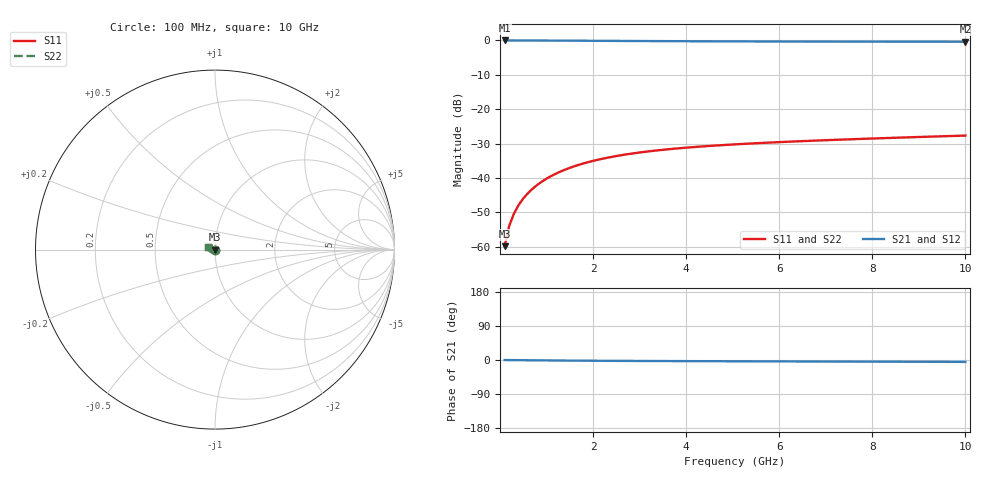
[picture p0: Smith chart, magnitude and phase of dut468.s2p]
! Touchstone file exported from HFSS 2024.1.0
!  File:  C:/UserFiles/LocalFiles/RDL_TSV_Batchsim/temp_TSV1_468_1779698264.aedt
!  Generated:  04:42:35 PM May 25, 2026
!  Design:  TSV1
!  Project:  temp_TSV1_468_1779698264
!  Setup:  Setup1
!  Solution:  Sweep
! Variables:
!  dtsv = 9.33um
!  hbump = 3um
!  htsv = 75.04um
!  lrdl = 252.1521522um
!  p = 40
!  p1 = 56.67um
!  t = 500um
!  trdl = 3um
!  wrdl = 24.89489489um
# GHz S MA R 50.000000
! Terminal data exported
! Port[1] = TSV22_T1
! Port[2] = TSV22_T2
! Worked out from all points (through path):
!   100 points, 100 MHz to 10 GHz, reference 50 ohm
!   highest |S21| = 0.00 dB at 100 MHz (marker M1); lowest = -0.4 dB at 10 GHz (marker M2)
!   lowest |S11| = -59.9 dB at 100 MHz (marker M3), VSWR 1.00, Z = 50 - j0.101 ohm
!   |S11| at or under -10 dB: start of sweep to end of sweep
!   |S22| runs from -59.9 to -27.7 dB; largest |S21 - S12| = 9.1e-15
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0.1  0.001015 -83.1  0.9998 -0.1  0.9998 -0.1  0.001015 -83.1
! Gamma 0 0 0 0
! Port Impedance 50 0 50 0
0.2  0.002015 -89.5  0.9997 -0.2  0.9997 -0.2  0.002015 -89.5
0.3  0.003018 -93.0  0.9995 -0.4  0.9995 -0.4  0.003018 -93.0
0.4  0.004017 -95.9  0.9992 -0.5  0.9992 -0.5  0.004017 -95.9
0.5  0.005007 -98.4  0.9989 -0.6  0.9989 -0.6  0.005007 -98.4
0.6  0.005986 -100.8  0.9985 -0.7  0.9985 -0.7  0.005986 -100.8
0.7  0.006951 -103.1  0.998 -0.8  0.998 -0.8  0.006951 -103.1
0.8  0.007901 -105.3  0.9975 -0.9  0.9975 -0.9  0.007901 -105.3
0.9  0.008833 -107.4  0.9969 -1.0  0.9969 -1.0  0.008833 -107.4
1.1  0.01064 -111.6  0.9956 -1.2  0.9956 -1.2  0.01064 -111.6
1.4  0.01319 -117.5  0.9935 -1.5  0.9935 -1.5  0.01319 -117.5
1.6  0.01478 -121.2  0.9919 -1.7  0.9919 -1.7  0.01478 -121.2
1.8  0.01628 -124.8  0.9902 -1.8  0.9902 -1.8  0.01628 -124.8
2.1  0.01834 -129.9  0.9878 -2.0  0.9878 -2.0  0.01834 -129.9
2.5  0.02079 -136.3  0.9845 -2.3  0.9845 -2.3  0.02079 -136.3
2.9  0.02293 -142.1  0.9814 -2.5  0.9814 -2.5  0.02293 -142.1
3.4  0.02522 -148.7  0.9779 -2.7  0.9779 -2.7  0.02522 -148.7
4.2  0.02821 -158.0  0.9731 -3.1  0.9731 -3.1  0.02821 -158.0
5.1  0.0309 -166.8  0.9689 -3.4  0.9689 -3.4  0.0309 -166.8
6.7  0.03472 -179.7  0.9638 -3.9  0.9638 -3.9  0.03472 -179.7
8.4  0.03819 169.3  0.9602 -4.5  0.9602 -4.5  0.03819 169.3
10  0.04128 160.8  0.9579 -5.0  0.9579 -5.0  0.04128 160.8
